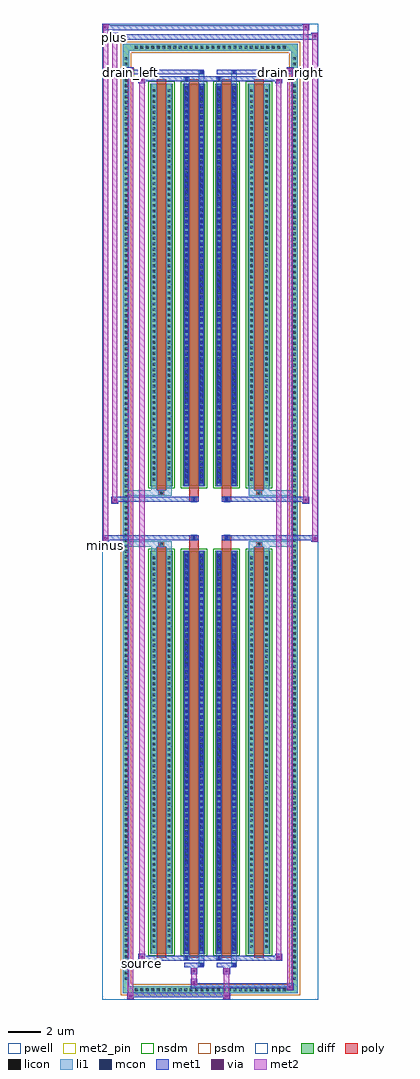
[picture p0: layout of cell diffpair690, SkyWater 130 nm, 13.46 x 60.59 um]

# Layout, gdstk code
import gdstk
lib = gdstk.Library(unit=1e-6, precision=5e-09)
def R(c, l, rs):  # rectangles x0, y0, x1, y1
    for r in rs: c.add(gdstk.rectangle(r[:2], r[2:], *l))
def A(c, l, x, y, w, h, nx, ny, dx, dy):  # array of equal rectangles
    R(c, l, [(x+i*dx, y+j*dy, x+i*dx+w, y+j*dy+h) for i in range(nx) for j in range(ny)])
def P(c, l, *ps):  # polygons
    for p in ps: c.add(gdstk.Polygon(p, *l))
pwell = (64, 44)
diff = (65, 20)
poly = (66, 20)
licon = (66, 44)
li1 = (67, 20)
mcon = (67, 44)
met1 = (68, 20)
via = (68, 44)
met2_pin = (69, 16)
met2 = (69, 20)
nsdm = (93, 44)
psdm = (94, 20)
npc = (95, 20)

diffpair690 = lib.new_cell('diffpair690')
R(diffpair690, pwell, [(-6.71,-29.86,6.71,30.73), (-4.03,-28.05,-0.01,-0.825), (0.01,-28.05,4.03,-0.825), (-4.03,0.825,-0.01,28.05), (0.01,0.825,4.03,28.05)])
A(diffpair690, diff, -4.795, -29.46, 0.41, 0.41, 28, 2, 0.34, 58.51)
A(diffpair690, diff, -5.44, -28.765, 0.41, 0.41, 1, 169, 0, 0.34)
A(diffpair690, diff, 5.03, -28.765, 0.41, 0.41, 1, 169, 0, 0.34)
A(diffpair690, diff, -3.72, -27.005, 1.38, 25, 4, 2, 2.02, 29.01)
R(diffpair690, diff, [(-4.795,-29.46,4.795,-29.05), (-5.44,-28.765,-5.03,28.765), (5.03,-28.765,5.44,28.765), (-4.795,29.05,4.795,29.46)])
P(diffpair690, diff, [(5.44,29.46),(-5.44,29.46),(-5.44,-29.05),(-5.03,-29.05),(-5.03,29.05),(5.03,29.05),(5.03,-29.05),(-5.03,-29.05),(-5.44,-29.05),(-5.44,-29.46),(5.44,-29.46)])
A(diffpair690, poly, -3.33, -27.255, 0.6, 25.5, 4, 2, 2.02, 29.01)
R(diffpair690, poly, [(-3.195,-1.755,-2.865,-1.425), (-3.195,-1.755,-2.865,-1.425), (-1.31,-1.755,-0.71,-1.355), (0.71,-1.755,1.31,-1.355), (2.865,-1.755,3.195,-1.425), (2.865,-1.755,3.195,-1.425), (-1.31,-1.355,-0.71,-1.025), (-1.175,-1.355,-0.845,-1.025), (0.71,-1.355,1.31,-1.025), (0.845,-1.355,1.175,-1.025), (-1.31,1.025,-0.71,1.355), (-1.175,1.025,-0.845,1.355), (0.71,1.025,1.31,1.355), (0.845,1.025,1.175,1.355), (-1.31,1.355,-0.71,1.755), (0.71,1.355,1.31,1.755), (-3.195,1.425,-2.865,1.755), (-3.195,1.425,-2.865,1.755), (2.865,1.425,3.195,1.755), (2.865,1.425,3.195,1.755)])
A(diffpair690, licon, -4.675, -29.34, 0.17, 0.17, 28, 2, 0.34, 58.51)
A(diffpair690, licon, -5.32, -28.645, 0.17, 0.17, 1, 169, 0, 0.34)
A(diffpair690, licon, 5.15, -28.645, 0.17, 0.17, 1, 169, 0, 0.34)
A(diffpair690, licon, -3.58, -26.66, 0.17, 0.17, 1, 72, 0, 0.34)
A(diffpair690, licon, -2.65, -26.66, 0.17, 0.17, 1, 72, 0, 0.34)
A(diffpair690, licon, -1.56, -26.66, 0.17, 0.17, 1, 72, 0, 0.34)
A(diffpair690, licon, -0.63, -26.66, 0.17, 0.17, 1, 72, 0, 0.34)
A(diffpair690, licon, 0.46, -26.66, 0.17, 0.17, 1, 72, 0, 0.34)
A(diffpair690, licon, 1.39, -26.66, 0.17, 0.17, 1, 72, 0, 0.34)
A(diffpair690, licon, 2.48, -26.66, 0.17, 0.17, 1, 72, 0, 0.34)
A(diffpair690, licon, 3.41, -26.66, 0.17, 0.17, 1, 72, 0, 0.34)
A(diffpair690, licon, -3.58, 2.35, 0.17, 0.17, 1, 72, 0, 0.34)
A(diffpair690, licon, -2.65, 2.35, 0.17, 0.17, 1, 72, 0, 0.34)
A(diffpair690, licon, -1.56, 2.35, 0.17, 0.17, 1, 72, 0, 0.34)
A(diffpair690, licon, -0.63, 2.35, 0.17, 0.17, 1, 72, 0, 0.34)
A(diffpair690, licon, 0.46, 2.35, 0.17, 0.17, 1, 72, 0, 0.34)
A(diffpair690, licon, 1.39, 2.35, 0.17, 0.17, 1, 72, 0, 0.34)
A(diffpair690, licon, 2.48, 2.35, 0.17, 0.17, 1, 72, 0, 0.34)
A(diffpair690, licon, 3.41, 2.35, 0.17, 0.17, 1, 72, 0, 0.34)
R(diffpair690, licon, [(-3.115,-1.675,-2.945,-1.505), (2.945,-1.675,3.115,-1.505), (-1.095,-1.275,-0.925,-1.105), (0.925,-1.275,1.095,-1.105), (-1.095,1.105,-0.925,1.275), (0.925,1.105,1.095,1.275), (-3.115,1.505,-2.945,1.675), (2.945,1.505,3.115,1.675)])
A(diffpair690, li1, -4.755, -29.42, 0.33, 0.33, 28, 2, 0.34, 58.51)
A(diffpair690, li1, -5.4, -28.725, 0.33, 0.33, 1, 169, 0, 0.34)
A(diffpair690, li1, 5.07, -28.725, 0.33, 0.33, 1, 169, 0, 0.34)
A(diffpair690, li1, -1.56, -26.83, 0.17, 0.17, 1, 69, 0, 0.36)
A(diffpair690, li1, -0.63, -26.83, 0.17, 0.17, 1, 69, 0, 0.36)
A(diffpair690, li1, 0.46, -26.83, 0.17, 0.17, 1, 69, 0, 0.36)
A(diffpair690, li1, 1.39, -26.83, 0.17, 0.17, 1, 69, 0, 0.36)
A(diffpair690, li1, -3.66, -26.74, 0.33, 0.33, 1, 72, 0, 0.34)
A(diffpair690, li1, -2.73, -26.74, 0.33, 0.33, 1, 72, 0, 0.34)
A(diffpair690, li1, -1.64, -26.74, 0.33, 0.33, 1, 72, 0, 0.34)
A(diffpair690, li1, -0.71, -26.74, 0.33, 0.33, 1, 72, 0, 0.34)
A(diffpair690, li1, 0.38, -26.74, 0.33, 0.33, 1, 72, 0, 0.34)
A(diffpair690, li1, 1.31, -26.74, 0.33, 0.33, 1, 72, 0, 0.34)
A(diffpair690, li1, 2.4, -26.74, 0.33, 0.33, 1, 72, 0, 0.34)
A(diffpair690, li1, 3.33, -26.74, 0.33, 0.33, 1, 72, 0, 0.34)
A(diffpair690, li1, -1.56, 2.18, 0.17, 0.17, 1, 69, 0, 0.36)
A(diffpair690, li1, -0.63, 2.18, 0.17, 0.17, 1, 69, 0, 0.36)
A(diffpair690, li1, 0.46, 2.18, 0.17, 0.17, 1, 69, 0, 0.36)
A(diffpair690, li1, 1.39, 2.18, 0.17, 0.17, 1, 69, 0, 0.36)
A(diffpair690, li1, -3.66, 2.27, 0.33, 0.33, 1, 72, 0, 0.34)
A(diffpair690, li1, -2.73, 2.27, 0.33, 0.33, 1, 72, 0, 0.34)
A(diffpair690, li1, -1.64, 2.27, 0.33, 0.33, 1, 72, 0, 0.34)
A(diffpair690, li1, -0.71, 2.27, 0.33, 0.33, 1, 72, 0, 0.34)
A(diffpair690, li1, 0.38, 2.27, 0.33, 0.33, 1, 72, 0, 0.34)
A(diffpair690, li1, 1.31, 2.27, 0.33, 0.33, 1, 72, 0, 0.34)
A(diffpair690, li1, 2.4, 2.27, 0.33, 0.33, 1, 72, 0, 0.34)
A(diffpair690, li1, 3.33, 2.27, 0.33, 0.33, 1, 72, 0, 0.34)
R(diffpair690, li1, [(-5.44,-29.46,-5.03,-29.05), (-5.44,-29.46,-5.03,-29.05), (-5.03,-29.46,5.03,-29.05), (5.03,-29.46,5.44,-29.05), (5.03,-29.46,5.44,-29.05), (-5.44,-29.05,-5.03,29.05), (5.03,-29.05,5.44,29.05), (-0.71,-27.81,-0.38,-27.005), (-0.63,-27.81,-0.46,-27.64), (1.31,-27.81,1.64,-27.005), (1.39,-27.81,1.56,-27.64), (-1.64,-27.38,-1.31,-27.005), (-1.56,-27.38,-1.39,-27.21), (0.38,-27.38,0.71,-27.005), (0.46,-27.38,0.63,-27.21), (-3.66,-27.005,-3.33,-2.005), (-2.73,-27.005,-2.4,-2.005), (-1.64,-27.005,-1.31,-2.005), (-0.71,-27.005,-0.38,-2.005), (0.38,-27.005,0.71,-2.005), (1.31,-27.005,1.64,-2.005), (2.4,-27.005,2.73,-2.005), (3.33,-27.005,3.66,-2.005), (-1.56,-26.83,-1.39,-2.18), (-0.63,-26.83,-0.46,-2.18), (0.46,-26.83,0.63,-2.18), (1.39,-26.83,1.56,-2.18), (-3.66,-2.005,-3.33,-1.425), (-2.73,-2.005,-2.4,-1.425), (2.4,-2.005,2.73,-1.425), (3.33,-2.005,3.66,-1.425), (-5.44,-1.755,-3.195,-1.425), (-3.66,-1.755,-3.195,-1.425), (-3.195,-1.755,-2.865,-1.425), (-2.865,-1.755,-2.4,-1.425), (2.4,-1.755,2.865,-1.425), (2.865,-1.755,3.195,-1.425), (2.865,-1.755,5.44,-1.425), (3.195,-1.755,3.66,-1.425), (-1.175,-1.355,-0.845,-1.025), (0.845,-1.355,1.175,-1.025), (-1.175,1.025,-0.845,1.355), (0.845,1.025,1.175,1.355), (-5.44,1.425,-3.195,1.755), (-3.66,1.425,-3.195,1.755), (-3.66,1.425,-3.33,2.005), (-3.195,1.425,-2.865,1.755), (-2.865,1.425,-2.4,1.755), (-2.73,1.425,-2.4,2.005), (2.4,1.425,2.865,1.755), (2.4,1.425,2.73,2.005), (2.865,1.425,3.195,1.755), (2.865,1.425,5.44,1.755), (3.195,1.425,3.66,1.755), (3.33,1.425,3.66,2.005), (-3.66,2.005,-3.33,27.005), (-2.73,2.005,-2.4,27.005), (-1.64,2.005,-1.31,27.005), (-0.71,2.005,-0.38,27.005), (0.38,2.005,0.71,27.005), (1.31,2.005,1.64,27.005), (2.4,2.005,2.73,27.005), (3.33,2.005,3.66,27.005), (-1.56,2.18,-1.39,26.83), (-0.63,2.18,-0.46,26.83), (0.46,2.18,0.63,26.83), (1.39,2.18,1.56,26.83), (-1.64,27.005,-1.31,27.38), (-0.71,27.005,-0.38,27.81), (0.38,27.005,0.71,27.38), (1.31,27.005,1.64,27.81), (-1.56,27.21,-1.39,27.38), (0.46,27.21,0.63,27.38), (-0.63,27.64,-0.46,27.81), (1.39,27.64,1.56,27.81), (-5.44,29.05,-5.03,29.46), (-5.44,29.05,-5.03,29.46), (-5.03,29.05,5.03,29.46), (5.03,29.05,5.44,29.46), (5.03,29.05,5.44,29.46)])
A(diffpair690, mcon, -1.56, -26.83, 0.17, 0.17, 1, 69, 0, 0.36)
A(diffpair690, mcon, -0.63, -26.83, 0.17, 0.17, 1, 69, 0, 0.36)
A(diffpair690, mcon, 0.46, -26.83, 0.17, 0.17, 1, 69, 0, 0.36)
A(diffpair690, mcon, 1.39, -26.83, 0.17, 0.17, 1, 69, 0, 0.36)
A(diffpair690, mcon, -1.56, 2.18, 0.17, 0.17, 1, 69, 0, 0.36)
A(diffpair690, mcon, -0.63, 2.18, 0.17, 0.17, 1, 69, 0, 0.36)
A(diffpair690, mcon, 0.46, 2.18, 0.17, 0.17, 1, 69, 0, 0.36)
A(diffpair690, mcon, 1.39, 2.18, 0.17, 0.17, 1, 69, 0, 0.36)
R(diffpair690, mcon, [(-0.63,-27.81,-0.46,-27.64), (1.39,-27.81,1.56,-27.64), (-1.56,-27.38,-1.39,-27.21), (0.46,-27.38,0.63,-27.21), (-1.095,-1.275,-0.925,-1.105), (0.925,-1.275,1.095,-1.105), (-1.095,1.105,-0.925,1.275), (0.925,1.105,1.095,1.275), (-1.56,27.21,-1.39,27.38), (0.46,27.21,0.63,27.38), (-0.63,27.64,-0.46,27.81), (1.39,27.64,1.56,27.81)])
A(diffpair690, met1, -1.62, -26.89, 0.29, 0.29, 1, 69, 0, 0.36)
A(diffpair690, met1, -0.69, -26.89, 0.29, 0.29, 1, 69, 0, 0.36)
A(diffpair690, met1, 0.4, -26.89, 0.29, 0.29, 1, 69, 0, 0.36)
A(diffpair690, met1, 1.33, -26.89, 0.29, 0.29, 1, 69, 0, 0.36)
A(diffpair690, met1, -1.62, 2.12, 0.29, 0.29, 1, 69, 0, 0.36)
A(diffpair690, met1, -0.69, 2.12, 0.29, 0.29, 1, 69, 0, 0.36)
A(diffpair690, met1, 0.4, 2.12, 0.29, 0.29, 1, 69, 0, 0.36)
A(diffpair690, met1, 1.33, 2.12, 0.29, 0.29, 1, 69, 0, 0.36)
R(diffpair690, met1, [(-5.17,-29.86,-4.74,-29.43), (0.795,-29.86,1.225,-29.43), (-5.17,-29.72,1.225,-29.43), (4.74,-29.29,5.17,-28.86), (-1.225,-29.15,5.17,-28.86), (-1.225,-29.01,-0.795,-28.58), (-1.225,-28.3,-0.795,-27.87), (0.795,-28.3,1.225,-27.87), (-1.62,-27.87,-0.4,-27.58), (-0.69,-27.87,-0.4,-27.58), (0.4,-27.87,1.62,-27.58), (1.33,-27.87,1.62,-27.58), (-4.46,-27.44,-4.03,-27.01), (-4.46,-27.44,-1.62,-27.15), (-1.62,-27.44,-1.33,-27.15), (-1.62,-27.44,-0.4,-27.15), (-0.4,-27.44,0.4,-27.15), (0.4,-27.44,0.69,-27.15), (0.4,-27.44,1.62,-27.15), (1.62,-27.44,4.46,-27.15), (4.03,-27.44,4.46,-27.01), (-1.62,-27.005,-1.33,-2.005), (-0.69,-27.005,-0.4,-2.005), (0.4,-27.005,0.69,-2.005), (1.33,-27.005,1.62,-2.005), (-6.71,-1.455,-6.28,-1.025), (6.28,-1.455,6.71,-1.025), (-6.71,-1.355,-0.71,-1.025), (-1.31,-1.355,-0.71,-1.025), (0.71,-1.355,1.31,-1.025), (0.71,-1.355,6.71,-1.025), (-1.155,-1.335,-0.865,-1.045), (0.865,-1.335,1.155,-1.045), (-6.14,0.925,-5.71,1.355), (5.71,0.925,6.14,1.355), (-6.14,1.025,-1.31,1.355), (-1.31,1.025,-0.71,1.355), (0.71,1.025,1.31,1.355), (1.31,1.025,6.14,1.355), (-1.155,1.045,-0.865,1.335), (0.865,1.045,1.155,1.335), (-1.62,2.005,-1.33,27.005), (-0.69,2.005,-0.4,27.005), (0.4,2.005,0.69,27.005), (1.33,2.005,1.62,27.005), (-4.46,27.01,-4.03,27.44), (4.03,27.01,4.46,27.44), (-4.46,27.15,-1.62,27.44), (-1.62,27.15,-1.33,27.44), (-1.62,27.15,-0.4,27.44), (-0.4,27.15,0.4,27.44), (0.4,27.15,0.69,27.44), (0.4,27.15,1.62,27.44), (1.62,27.15,4.46,27.44), (-5.17,27.58,-4.74,28.01), (-5.17,27.58,-1.62,27.87), (-1.62,27.58,-0.4,27.87), (-0.69,27.58,-0.4,27.87), (0.4,27.58,1.62,27.87), (1.33,27.58,1.62,27.87), (1.62,27.58,5.17,27.87), (4.74,27.58,5.17,28.01), (-6.14,29.73,-5.71,30.16), (-6.14,29.73,-4.03,30.06), (-4.03,29.73,4.03,30.06), (4.03,29.73,6.71,30.06), (6.28,29.73,6.71,30.16), (-6.71,30.3,-6.28,30.73), (-6.71,30.3,-4.03,30.63), (-4.03,30.3,4.03,30.63), (4.03,30.3,6.14,30.63), (5.71,30.3,6.14,30.73)])
R(diffpair690, via, [(-5.03,-29.72,-4.88,-29.57), (0.935,-29.72,1.085,-29.57), (4.88,-29.15,5.03,-29), (-1.085,-28.87,-0.935,-28.72), (-1.085,-28.16,-0.935,-28.01), (0.935,-28.16,1.085,-28.01), (-4.32,-27.3,-4.17,-27.15), (4.17,-27.3,4.32,-27.15), (-6.57,-1.315,-6.42,-1.165), (6.42,-1.315,6.57,-1.165), (-6,1.065,-5.85,1.215), (5.85,1.065,6,1.215), (-4.32,27.15,-4.17,27.3), (4.17,27.15,4.32,27.3), (-5.03,27.72,-4.88,27.87), (4.88,27.72,5.03,27.87), (-6,29.87,-5.85,30.02), (6.42,29.87,6.57,30.02), (-6.57,30.44,-6.42,30.59), (5.85,30.44,6,30.59)])
R(diffpair690, met2_pin, [(-4.495,-27.89,-3.995,-27.39), (-6.745,-1.905,-6.245,-1.405), (-5.205,27.46,-4.705,27.96), (4.705,27.46,5.205,27.96), (-6.175,29.61,-5.675,30.11)])
R(diffpair690, met2, [(-5.12,-29.81,-4.79,-29.48), (-5.12,-29.81,-4.79,27.96), (0.845,-29.81,1.175,-29.48), (0.845,-29.48,1.175,-28.25), (4.79,-29.24,5.12,-28.91), (4.79,-29.24,5.12,27.96), (-1.175,-28.96,-0.845,-28.63), (-1.175,-28.63,-0.845,-28.25), (-1.175,-28.25,-0.845,-27.92), (0.845,-28.25,1.175,-27.92), (-4.41,-27.39,-4.08,-27.06), (-4.41,-27.39,-4.08,27.39), (4.08,-27.39,4.41,-27.06), (4.08,-27.39,4.41,27.39), (-6.66,-1.405,-6.33,-1.075), (-6.66,-1.405,-6.33,30.68), (6.33,-1.405,6.66,-1.075), (6.33,-1.405,6.66,30.11), (-6.09,0.975,-5.76,1.305), (-6.09,0.975,-5.76,30.11), (5.76,0.975,6.09,1.305), (5.76,0.975,6.09,30.68), (-4.41,27.06,-4.08,27.39), (4.08,27.06,4.41,27.39), (-5.12,27.63,-4.79,27.96), (4.79,27.63,5.12,27.96), (-6.09,29.78,-5.76,30.11), (6.33,29.78,6.66,30.11), (-6.66,30.35,-6.33,30.68), (5.76,30.35,6.09,30.68)])
P(diffpair690, met2, [(6.66,-1.405),(6.66,-1.405),(6.66,-1.075),(6.66,-1.075)],
  [(6.66,29.78),(6.66,29.78),(6.66,30.11),(6.66,30.11)],
  [(-6.33,-1.405),(-6.33,-1.405),(-6.33,-1.075),(-6.33,-1.075)],
  [(-6.33,30.35),(-6.33,30.35),(-6.33,30.68),(-6.33,30.68)],
  [(6.09,0.975),(6.09,0.975),(6.09,1.305),(6.09,1.305)],
  [(6.09,30.35),(6.09,30.35),(6.09,30.68),(6.09,30.68)],
  [(-5.76,0.975),(-5.76,0.975),(-5.76,1.305),(-5.76,1.305)],
  [(-5.76,29.78),(-5.76,29.78),(-5.76,30.11),(-5.76,30.11)],
  [(-4.79,-29.81),(-4.79,-29.81),(-4.79,-29.48),(-4.79,-29.48)],
  [(-4.79,27.63),(-4.79,27.63),(-4.79,27.96),(-4.79,27.96)],
  [(5.12,-29.24),(5.12,-29.24),(5.12,-28.91),(5.12,-28.91)],
  [(5.12,27.63),(5.12,27.63),(5.12,27.96),(5.12,27.96)],
  [(-4.08,-27.39),(-4.08,-27.39),(-4.08,-27.06),(-4.08,-27.06)],
  [(-4.08,27.06),(-4.08,27.06),(-4.08,27.39),(-4.08,27.39)],
  [(4.41,-27.39),(4.41,-27.39),(4.41,-27.06),(4.41,-27.06)],
  [(4.41,27.06),(4.41,27.06),(4.41,27.39),(4.41,27.39)])
A(diffpair690, nsdm, -3.85, -27.135, 1.64, 25.26, 4, 2, 2.02, 29.01)
P(diffpair690, psdm, [(5.57,29.59),(-5.57,29.59),(-5.57,-28.92),(-4.9,-28.92),(-4.9,28.92),(4.9,28.92),(4.9,-28.92),(-4.9,-28.92),(-5.57,-28.92),(-5.57,-29.59),(5.57,-29.59)])
R(diffpair690, npc, [(-3.215,-1.775,-2.845,-1.405), (2.845,-1.775,3.215,-1.405), (-1.195,-1.375,-0.825,-1.005), (0.825,-1.375,1.195,-1.005), (-1.195,1.005,-0.825,1.375), (0.825,1.005,1.195,1.375), (-3.215,1.405,-2.845,1.775), (2.845,1.405,3.215,1.775)])
diffpair690.add(gdstk.Label('minus', (-6.495,-1.655), layer=69, texttype=5))
diffpair690.add(gdstk.Label('drain_right', (4.955,27.71), layer=69, texttype=5))
diffpair690.add(gdstk.Label('drain_left', (-4.955,27.71), layer=69, texttype=5))
diffpair690.add(gdstk.Label('source', (-4.245,-27.64), layer=69, texttype=5))
diffpair690.add(gdstk.Label('plus', (-5.925,29.86), layer=69, texttype=5))

lib.write_gds('diffpair690.gds')
